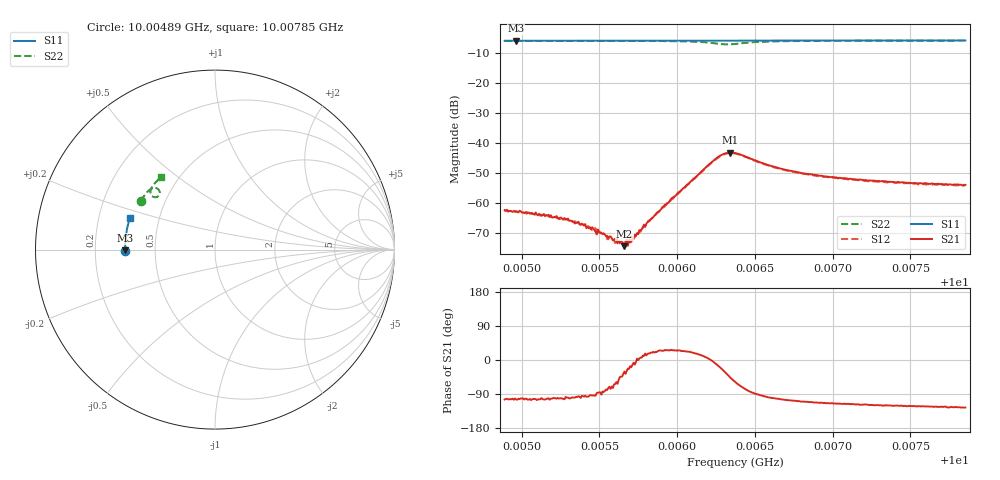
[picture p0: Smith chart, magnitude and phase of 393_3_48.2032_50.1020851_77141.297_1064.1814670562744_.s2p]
#  HZ  S  RI  R  50.00
! Rohde & Schwarz Vector Network Analyzer
! Rohde-Schwarz,ZNB20-2Port,1311601062101988,3.16
! Created: UTC 3/20/2024, 11:53:42 AM
! freq[Hz]  re:S11  im:S11  re:S21  im:S21  re:S12  im:S12  re:S22  im:S22
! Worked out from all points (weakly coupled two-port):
!   401 points, 10.00489 GHz to 10.00785 GHz, reference 50 ohm
!   highest |S21| = -43.18 dB at 10.00634 GHz (marker M1); lowest = -74.3 dB at 10.00566 GHz (marker M2)
!   lowest |S11| = -6.0 dB at 10.00496 GHz (marker M3), VSWR 2.99, Z = 16.7 - j0.206 ohm
!   |S11| at or under -10 dB: nowhere
!   |S22| runs from -7.2 to -6.0 dB; largest |S21 - S12| = 0.0004
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1.000489e10  -0.4993 -0.00936  -0.000187 -0.000743  -0.000142 -0.000727  -0.4131 0.2711
1.0004964e10  -0.4993 -0.00463  -0.000179 -0.000693  -0.000154 -0.000723  -0.4106 0.2755
1.0005216e10  -0.4999 0.0119  -0.000113 -0.000574  -0.00011 -0.000574  -0.4011 0.2902
1.0005283e10  -0.4998 0.0162  -6.92e-05 -0.000531  -7.56e-05 -0.000536  -0.3984 0.2942
1.0005386e10  -0.4997 0.0229  -3.72e-05 -0.000448  -3.2e-05 -0.000455  -0.3941 0.3005
1.0005475e10  -0.4996 0.0286  -2.32e-05 -0.000332  -2.09e-05 -0.000379  -0.3902 0.3058
1.0005564e10  -0.4995 0.0344  9.39e-05 -0.000263  8.04e-05 -0.000257  -0.386 0.3113
1.0005601e10  -0.4994 0.0368  0.000114 -0.000229  8.55e-05 -0.000199  -0.384 0.3136
1.0005661e10  -0.4991 0.0408  0.000166 -9.75e-05  0.000173 -0.000142  -0.3809 0.3171
1.0005668e10  -0.4992 0.0412  0.000175 -0.000129  0.000165 -0.000136  -0.3805 0.3176
1.0005698e10  -0.4991 0.0431  0.000219 -6.46e-05  0.000211 -6.52e-05  -0.3789 0.3195
1.0005727e10  -0.4992 0.0451  0.00029 -6.25e-05  0.000271 -2.96e-06  -0.3772 0.3214
1.0005801e10  -0.4986 0.0498  0.000443 9.44e-05  0.000418 0.000143  -0.3726 0.3261
1.0005883e10  -0.4982 0.0551  0.00065 0.000302  0.000655 0.000333  -0.3664 0.3313
1.0006239e10  -0.4954 0.078  0.00519 -0.000595  0.00508 -0.000338  -0.3115 0.3303
1.0006291e10  -0.4949 0.081  0.00584 -0.00269  0.00581 -0.00238  -0.3081 0.3114
1.0006342e10  -0.4945 0.0842  0.00477 -0.00503  0.00493 -0.00467  -0.3208 0.2943
1.0006372e10  -0.4943 0.0859  0.00362 -0.00575  0.00385 -0.00544  -0.332 0.2915
1.0006654e10  -0.492 0.1041  -0.000825 -0.00373  -0.000674 -0.0037  -0.3578 0.334
1.0006869e10  -0.4895 0.1177  -0.00108 -0.0028  -0.000946 -0.00277  -0.3482 0.3534
1.0007365e10  -0.482 0.1488  -0.00113 -0.00196  -0.00103 -0.00198  -0.3233 0.3826
1.0007854e10  -0.4727 0.1786  -0.00116 -0.00164  -0.00106 -0.00167  -0.2985 0.4054
